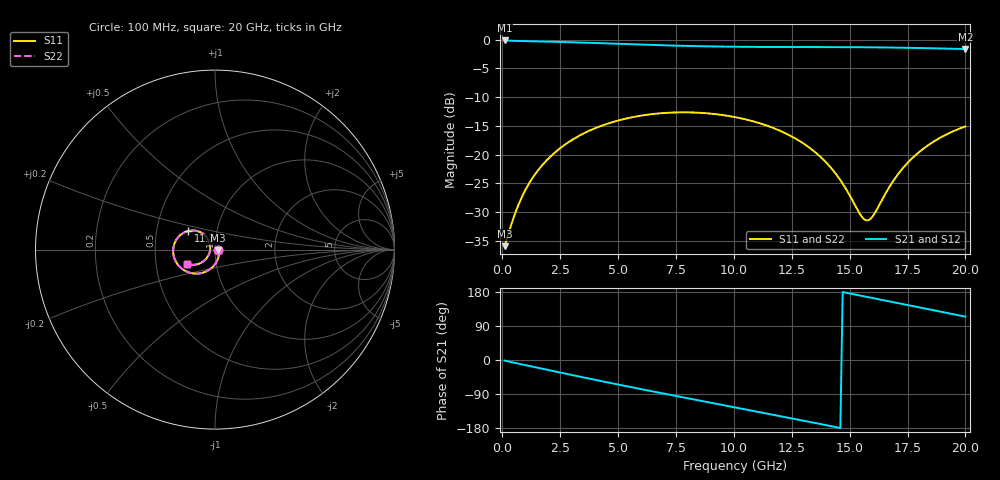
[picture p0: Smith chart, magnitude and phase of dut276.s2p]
! Touchstone file exported from HFSS 2026.1.0
!  File:  C:/ffzhzh/LocalFiles/Ansys_Project_Files/temp_train_TSV_RDL_276_1783084965_37648.aedt
!  Generated:  09:30:15 PM Jul  3, 2026
!  Design:  TSV_RDL
!  Project:  temp_train_TSV_RDL_276_1783084965_37648
! Variables:
!  h_bsmrdl = 4.39um
!  h_ox = 20um
!  h_rdl = 5um
!  h_sub = 62.73um
!  h_tmrdl = 2.77um
!  h_tsv = 62.73um
!  h_via = 3um
!  l_bsmrdl = 983.78um
!  l_sub = 4103.61um
!  l_tmrdl = 155.18um
!  m_sub = 200um
!  pitch = 26.19um
!  r_tsv = 11.58um
!  s_tmrdl = 10um
!  w_bsmrdl = 23.49um
!  w_sub = 500um
!  w_tmrdl = 20.36um
!  x_tsv_center1 = 165.36um
!  x_tsv_center2 = 1172.63um
!  x_tsv_center3 = 1348.17um
!  x_tsv_center4 = 2355.44um
!  x_tsv_center5 = 2530.98um
!  x_tsv_center6 = 3538.25um
# GHz S MA R 50.000000
! Terminal data exported
! Port[1] = TM_RDL1_1_T1
! Port[2] = TM_RDL5_1_T1
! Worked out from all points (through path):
!   200 points, 100 MHz to 20 GHz, reference 50 ohm
!   highest |S21| = -0.14 dB at 100 MHz (marker M1); lowest = -1.6 dB at 20 GHz (marker M2)
!   group delay of S21, straight-line fit = 33.7 ps
!   lowest |S11| = -35.9 dB at 100 MHz (marker M3), VSWR 1.03, Z = 51.6 - j0.148 ohm
!   |S11| at or under -10 dB: start of sweep to end of sweep
!   |S22| runs from -35.9 to -12.6 dB; largest |S21 - S12| = 1.3e-13
!   S11 on the Smith chart (normalised r, x): 100 MHz: 1.03, -0.00; 11.3 GHz: 0.72, +0.15; 20 GHz: 0.72, -0.12
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0.1  0.01604 -5.1  0.984 -1.5  0.984 -1.5  0.01604 -5.1
! Gamma 0 0 0 0
! Port Impedance 50 0 50 0
0.7  0.03674 -54.5  0.9735 -9.6  0.9735 -9.6  0.03674 -54.5
1  0.04945 -68.6  0.9705 -13.6  0.9705 -13.6  0.04945 -68.6
1.4  0.06692 -81.7  0.9669 -18.8  0.9669 -18.8  0.06691 -81.7
2.3  0.1057 -101.3  0.9578 -30.5  0.9578 -30.5  0.1057 -101.4
3.5  0.1525 -120.7  0.9423 -45.9  0.9423 -45.9  0.1525 -120.7
5.1  0.2006 -142.6  0.9186 -66.0  0.9186 -66.0  0.2006 -142.6
6.8  0.2288 -163.8  0.8949 -86.6  0.8949 -86.6  0.2288 -163.8
8.4  0.2321 177.4  0.8781 -105.6  0.8781 -105.6  0.232 177.3
10.1  0.2113 158.3  0.8675 -125.5  0.8675 -125.5  0.2112 158.3
11.3  0.1827 145.6  0.8641 -139.7  0.8641 -139.7  0.1825 145.5
12.4  0.1476 134.8  0.8629 -152.8  0.8629 -152.8  0.1474 134.7
13.4  0.1097 126.7  0.8624 -164.8  0.8624 -164.8  0.1095 126.6
14.4  0.06844 123.9  0.8616 -177.0  0.8616 -177.0  0.0682 123.6
15.5  0.02938 153.6  0.8593 169.5  0.8593 169.5  0.02903 153.6
15.7  0.02694 169.9  0.8587 167.0  0.8587 167.0  0.0266 170.1
16  0.02921 -164.8  0.8576 163.3  0.8576 163.3  0.02896 -164.4
16.7  0.05179 -137.6  0.8545 154.7  0.8545 154.7  0.05172 -137.3
17.3  0.07646 -134.0  0.851 147.3  0.851 147.3  0.07644 -133.8
18.1  0.1094 -137.0  0.8454 137.5  0.8454 137.5  0.1094 -136.9
19  0.1437 -144.0  0.838 126.5  0.838 126.5  0.1437 -143.9
20  0.1762 -153.3  0.8289 114.4  0.8289 114.4  0.1762 -153.2
